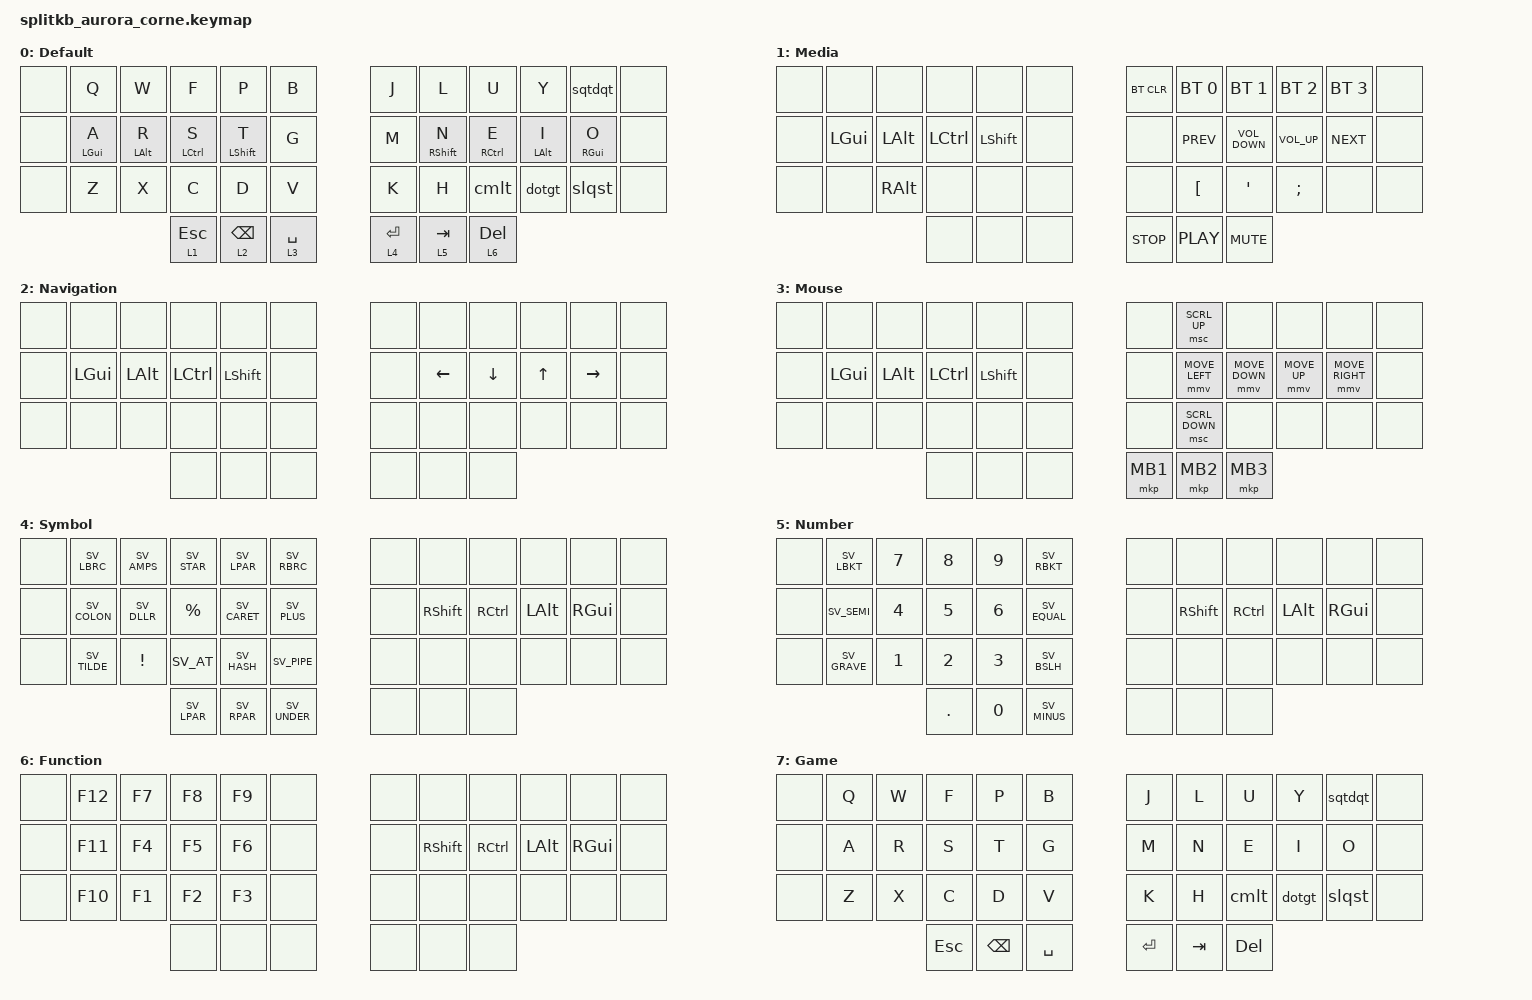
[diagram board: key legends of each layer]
/*
 * Copyright (c) 2020 The ZMK Contributors
 *
 * SPDX-License-Identifier: MIT
 */

#include "includes.h"

&caps_word {
        continue-list = <SV_UNDER BSPC>;
};

/ {
        behaviors {
                lmt: left_mod_tap {
                     compatible = "zmk,behavior-hold-tap";
                     #binding-cells = <2>;
                     flavor = "balanced";
                     tapping-term-ms = <280>;
                     quick-tap-ms = <175>;
                     global-quick-tap;
                     bindings = <&kp>, <&kp>;
                     hold-trigger-key-positions = <
                        6 7 8 9 10 11
                        18 19 20 21 22 23
                        30 31 32 33 34 35
                        39 40 41>;
                     hold-trigger-on-release;
                };
                rmt: right_mod_tap {
                     compatible = "zmk,behavior-hold-tap";
                     #binding-cells = <2>;
                     flavor = "balanced";
                     tapping-term-ms = <280>;
                     quick-tap-ms = <175>;
                     global-quick-tap;
                     bindings = <&kp>, <&kp>;
                     hold-trigger-key-positions = <
                        0 1 2 3 4 5
                        12 13 14 15 16 17
                        24 25 26 27 28 29
                        36 37 38>;
                     hold-trigger-on-release;
                };
                cmlt: comma_less_than {
                     compatible = "zmk,behavior-mod-morph";
                     #binding-cells = <0>;
                     bindings = <&kp COMMA>, <&kp SV_LT>;
                     mods = <(MOD_LSFT|MOD_RSFT)>;
                };
                dotgt: dot_greater_than {
                     compatible = "zmk,behavior-mod-morph";
                     #binding-cells = <0>;
                     bindings = <&kp DOT>, <&kp SV_GT>;
                     mods = <(MOD_LSFT|MOD_RSFT)>;
                };
                slqst: slash_question {
                     compatible = "zmk,behavior-mod-morph";
                     #binding-cells = <0>;
                     bindings = <&kp SV_FSLH>, <&kp SV_QMARK>;
                     mods = <(MOD_LSFT|MOD_RSFT)>;
                };
                sqtdqt: single_quote_double_quote {
                     compatible = "zmk,behavior-mod-morph";
                     #binding-cells = <0>;
                     bindings = <&kp SV_SQT>, <&kp SV_DQT>;
                     mods = <(MOD_LSFT|MOD_RSFT)>;
                };
        };
        combos {
                compatible = "zmk,combos";
                combo_caps_word {
                     timeout-ms = <50>;
                     key-positions = <25 26>;
                     bindings = <&caps_word>;
                };
                combo_game_layer {
                     timeout-ms = <50>;
                     key-positions = <33 34>;
                     bindings = <&tog 7>;
                };
        };
        keymap {
                compatible = "zmk,keymap";

                default_layer {
                        display-name = "Default";
                        bindings = <
   &none &kp Q       &kp W       &kp F        &kp P         &kp B    &kp J &kp L         &kp U        &kp Y       &sqtdqt     &none
   &none &lmt LGUI A &lmt LALT R &lmt LCTRL S &lmt LSHIFT T &kp G    &kp M &rmt RSHIFT N &rmt RCTRL E &rmt LALT I &rmt RGUI O &none
   &none &kp Z       &kp X       &kp C        &kp D         &kp V    &kp K &kp H         &cmlt        &dotgt      &slqst      &none
                                 &lt 1 ESC &lt 2 BSPC &lt 3 SPACE    &lt 4 RET &lt 5 TAB  &lt 6 DEL
                        >;
                };
                media_layer {
                        display-name = "Media";
                        bindings = <
   &none &none    &none    &none     &none      &none  &bt BT_CLR   &bt BT_SEL 0 &bt BT_SEL 1      &bt BT_SEL 2    &bt BT_SEL 3 &none
   &none &kp LGUI &kp LALT &kp LCTRL &kp LSHIFT &none  &none        &kp C_PREV   &kp C_VOLUME_DOWN &kp C_VOLUME_UP &kp C_NEXT   &none
   &none &none    &kp RALT &none     &none      &none  &none        &kp LBKT     &kp SQT           &kp SEMI        &none        &none
                                    &none &none &none  &kp C_STOP &kp C_PLAY &kp C_MUTE
                        >;
                };
                nav_layer {
                        display-name = "Navigation";
                        bindings = <
   &none &none &none &none &none &none  &none &none &none &none &none &none
   &none &kp LGUI &kp LALT &kp LCTRL &kp LSHIFT &none  &none &kp LEFT_ARROW &kp DOWN_ARROW &kp UP_ARROW &kp RIGHT_ARROW &none
   &none &none &none &none &none &none  &none &none &none &none &none &none
                     &none &none &none  &none &none &none
                        >;
                };
                mouse_layer {
                        display-name = "Mouse";
                        bindings = <
   &none &none    &none    &none     &none      &none  &none &msc SCRL_UP &none            &none          &none             &none
   &none &kp LGUI &kp LALT &kp LCTRL &kp LSHIFT &none  &none &mmv MOVE_LEFT &mmv MOVE_DOWN &mmv MOVE_UP &mmv MOVE_RIGHT &none
   &none &none &none &none &none &none                 &none &msc SCRL_DOWN &none &none &none &none
                     &none &none &none                 &mkp MB1 &mkp MB2 &mkp MB3
                        >;
                };
                sym_layer {
                        display-name = "Symbol";
                        bindings = <
   &none &kp SV_LBRC  &kp SV_AMPS &kp SV_STAR &kp SV_LPAR  &kp SV_RBRC  &none &none &none &none &none &none
   &none &kp SV_COLON &kp SV_DLLR &kp PRCNT   &kp SV_CARET &kp SV_PLUS  &none &kp RSHIFT &kp RCTRL &kp LALT &kp RGUI &none
   &none &kp SV_TILDE &kp EXCL    &kp SV_AT   &kp SV_HASH  &kp SV_PIPE  &none &none &none &none &none &none
                                  &kp SV_LPAR &kp SV_RPAR &kp SV_UNDER  &none &none &none
                        >;
                };
                num_layer {
                        display-name = "Number";
                        bindings = <
   &none &kp SV_LBKT  &kp N7 &kp N8 &kp N9 &kp SV_RBKT   &none &none &none &none &none &none
   &none &kp SV_SEMI  &kp N4 &kp N5 &kp N6 &kp SV_EQUAL  &none &kp RSHIFT &kp RCTRL &kp LALT &kp RGUI &none
   &none &kp SV_GRAVE &kp N1 &kp N2 &kp N3 &kp SV_BSLH   &none &none &none &none &none &none
                            &kp DOT &kp N0 &kp SV_MINUS  &none &none &none
                        >;
                };
                fun_layer {
                        display-name = "Function";
                        bindings = <
   &none &kp F12 &kp F7 &kp F8 &kp F9 &none  &none &none &none &none &none &none
   &none &kp F11 &kp F4 &kp F5 &kp F6 &none  &none &kp RSHIFT &kp RCTRL &kp LALT &kp RGUI &none
   &none &kp F10 &kp F1 &kp F2 &kp F3 &none  &none &none &none &none &none &none
                     &none &none &none  &none &none &none
                        >;
                };
                game_layer {
                        display-name = "Game";
                        bindings = <
   &none &kp Q &kp W &kp F &kp P &kp B    &kp J &kp L &kp U &kp Y  &sqtdqt &none
   &none &kp A &kp R &kp S &kp T &kp G    &kp M &kp N &kp E &kp I  &kp O   &none
   &none &kp Z &kp X &kp C &kp D &kp V    &kp K &kp H &cmlt &dotgt &slqst  &none
      &kp ESC &kp BSPC &kp SPACE    &kp RET &kp TAB  &kp DEL
                        >;
                };
        };
};
